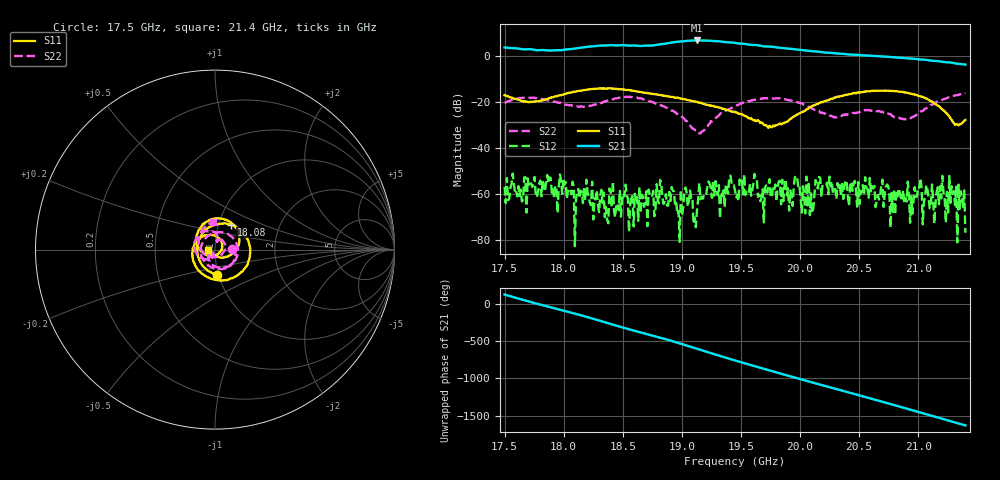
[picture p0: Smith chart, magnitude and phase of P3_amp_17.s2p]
!Created with skrf (http://scikit-rf.org).
# GHz S RI R 50.0
!freq ReS11 ImS11 ReS21 ImS21 ReS12 ImS12 ReS22 ImS22
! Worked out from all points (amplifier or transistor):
!   401 points, 17.5 GHz to 21.4 GHz, reference 50 ohm
!   highest |S21| = 6.8 dB at 19.13 GHz (marker M1)
!   |S21| within 3 dB of that: 18.17 GHz to 19.79 GHz (1.62 GHz wide, 8.54 % of centre)
!   unconditionally stable (mu >= 1): start of sweep to end of sweep
!   at 18.14 GHz: K = 270.97, MAG = 3.8 dB, |S12| = -58.7 dB
!   at 19.45 GHz: K = 214.99, MAG = 5.8 dB, |S12| = -58.5 dB
!   at 21.4 GHz: K = 5245.52, MAG = -3.6 dB, |S12| = -77.0 dB
!   S11 on the Smith chart (normalised r, x): 17.5 GHz: 0.98, -0.28; 18.08 GHz: 1.14, +0.33; 21.4 GHz: 0.92, -0.01
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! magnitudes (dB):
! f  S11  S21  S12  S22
! 17.5 GHz  -17.0  3.7  -56.9  -20.4
! 17.87 GHz  -18.5  2.4  -55.4  -19.3
! 18.08 GHz  -15.7  3.1  -54.7  -21.6
! 18.15 GHz  -15.0  3.7  -59.2  -21.9
! 18.36 GHz  -14.1  4.6  -65.7  -19.6
! 18.52 GHz  -14.8  4.7  -56.0  -17.9
! 18.57 GHz  -15.0  4.6  -60.3  -17.8
! 18.81 GHz  -16.9  5.1  -64.1  -21.1
! 18.91 GHz  -17.8  5.9  -57.0  -23.7
! 18.96 GHz  -18.0  6.2  -68.8  -25.2
! 19.04 GHz  -19.0  6.6  -59.2  -28.2
! 19.13 GHz  -20.0  6.8  -67.1  -32.3
! 19.23 GHz  -21.4  6.7  -54.6  -29.8
! 19.45 GHz  -24.2  5.8  -58.5  -21.8
! 19.92 GHz  -27.3  3.2  -58.5  -19.2
! 19.98 GHz  -25.4  2.8  -53.1  -20.0
! 20.1 GHz  -21.7  2.1  -68.4  -22.9
! 20.15 GHz  -20.8  1.9  -57.7  -23.7
! 20.76 GHz  -15.1  -0.4  -59.9  -25.2
! 21.28 GHz  -27.7  -2.9  -56.7  -17.5
! 21.37 GHz  -29.3  -3.5  -61.1  -16.5
! 21.4 GHz  -27.8  -3.7  -77.0  -16.1
